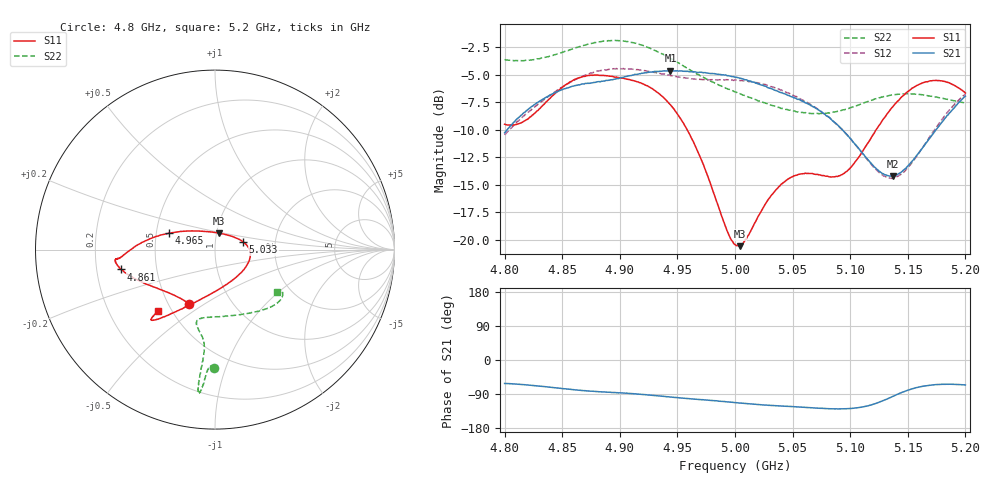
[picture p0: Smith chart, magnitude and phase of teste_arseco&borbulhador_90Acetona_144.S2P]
! Network Analyzer HP8722D
! Hewlett-Packard
! Data name: Linha & Wilkinson
! Saver's name: Rodrigo Anjos
! Comments: Teste da utilização de aquisição
! continua pelo VNA HP8722D
! Time and date: 17/4/2025 12:15
!  Frequency  S11  S21  S12  S22
# HZ  S  MA R 50
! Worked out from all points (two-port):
!   401 points, 4.8 GHz to 5.2 GHz, reference 50 ohm
!   highest |S21| = -4.65 dB at 4.944 GHz (marker M1); lowest = -14.2 dB at 5.137 GHz (marker M2)
!   |S21| within 3 dB of the highest: 4.827 GHz to 5.063 GHz (236.2 MHz wide, 4.78 % of centre); 5.1933 GHz to end of sweep
!   lowest |S11| = -20.6 dB at 5.004 GHz (marker M3), VSWR 1.21, Z = 51.5 + j9.44 ohm
!   |S11| at or under -10 dB: 4.958 GHz to 5.123 GHz (164.1 MHz wide, 3.26 % of centre)
!   |S22| runs from -8.6 to -1.9 dB; largest |S21 - S12| = 0.88
!   S11 on the Smith chart (normalised r, x): 4.8 GHz: 0.63, -0.43; 4.861 GHz: 0.31, -0.09; 4.965 GHz: 0.59, +0.12; 5.033 GHz: 1.37, +0.12; 5.2 GHz: 0.42, -0.37
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4.8e9  0.335 -115.9  0.3061 -61.9  0.2998 -176.2  0.6572 -90.7
4.819e9  0.3511 -136.2  0.3864 -65.8  0.3745 -175.3  0.6531 -92.4
4.861e9  0.5349 -168.0  0.5011 -78.9  0.5322 -178.6  0.7396 -94.9
4.867e9  0.5482 -170.4  0.5091 -80.5  0.5501 -179.8  0.7583 -95.0
4.9e9  0.5439 -174.7  0.5423 -86.5  0.5977 174.0  0.8007 -96.5
4.934e9  0.461 179.3  0.5808 -95.0  0.5718 170.5  0.7084 -96.9
4.944e9  0.4101 174.5  0.5855 -97.7  0.5563 170.7  0.6656 -96.7
4.965e9  0.2706 160.1  0.5788 -103.3  0.5365 172.7  0.5743 -96.0
4.993e9  0.1106 114.2  0.5558 -110.5  0.5328 174.8  0.4858 -98.7
5e9  0.09543 90.5  0.547 -112.6  0.5318 174.8  0.4694 -100.2
5.004e9  0.09378 75.5  0.5417 -113.5  0.5287 174.9  0.461 -101.0
5.033e9  0.1624 15.4  0.4823 -120.1  0.4935 173.6  0.406 -104.1
5.049e9  0.193 -0.3  0.4459 -122.8  0.4581 173.1  0.3857 -99.7
5.067e9  0.2003 -19.4  0.404 -126.1  0.4081 172.6  0.3741 -89.8
5.085e9  0.1933 -48.1  0.3456 -128.8  0.3482 173.0  0.3797 -75.9
5.097e9  0.2045 -72.1  0.3004 -128.5  0.301 174.6  0.3927 -66.4
5.121e9  0.3058 -109.6  0.2143 -116.0  0.2124 -170.8  0.4351 -49.8
5.134e9  0.3844 -120.0  0.195 -100.2  0.1909 -153.2  0.452 -43.3
5.137e9  0.402 -121.7  0.1947 -96.2  0.1912 -148.5  0.4545 -42.1
5.148e9  0.4621 -126.6  0.2108 -81.9  0.2068 -132.2  0.4599 -37.9
5.17e9  0.527 -131.6  0.2937 -66.3  0.2985 -112.4  0.4492 -32.8
5.2e9  0.464 -132.9  0.4488 -66.0  0.4585 -108.1  0.4176 -34.6
